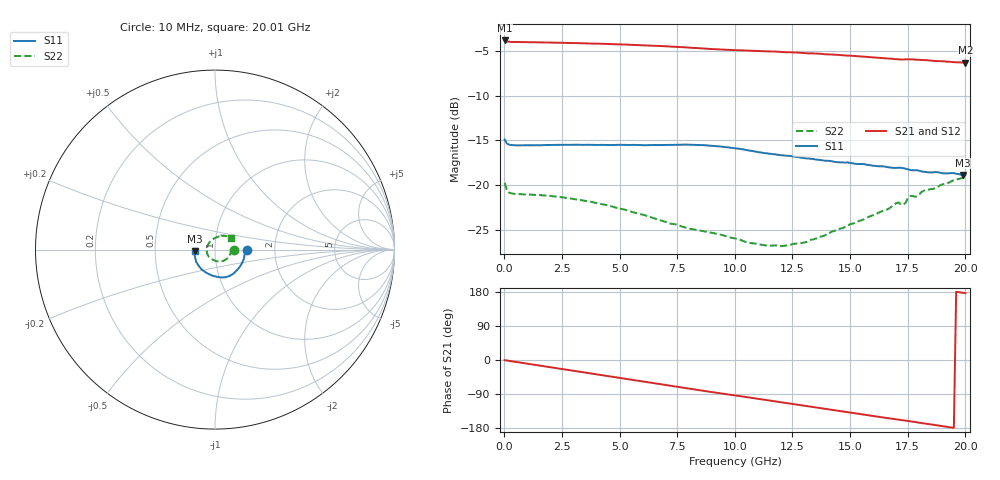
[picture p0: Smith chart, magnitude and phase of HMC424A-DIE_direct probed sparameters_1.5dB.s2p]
!s2p File: Measurements: S11, S21, S12, S22
# GHz S dB R 50.0
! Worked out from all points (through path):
!   201 points, 10 MHz to 20.01 GHz, reference 50 ohm
!   highest |S21| = -3.81 dB at 10 MHz (marker M1); lowest = -6.3 dB at 20.01 GHz (marker M2)
!   group delay of S21, straight-line fit = 25.4 ps
!   lowest |S11| = -18.9 dB at 19.91 GHz (marker M3), VSWR 1.26, Z = 39.8 - j0.647 ohm
!   |S11| at or under -10 dB: start of sweep to end of sweep
!   |S22| runs from -26.8 to -19.1 dB; largest |S21 - S12| = 0.0034
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0.01  -14.88 -1.3  -3.81 -0.4  -3.80 -0.4  -19.73 -2.0
0.11  -15.35 -2.4  -3.93 -1.5  -3.93 -1.5  -20.57 -4.9
0.31  -15.51 -2.8  -3.98 -3.3  -3.97 -3.3  -20.91 -5.7
1.91  -15.50 -11.8  -4.04 -18.4  -4.04 -18.4  -21.17 -23.5
3.41  -15.49 -21.4  -4.13 -32.6  -4.12 -32.6  -21.70 -42.0
5.01  -15.48 -32.3  -4.24 -47.7  -4.25 -47.7  -22.61 -62.2
6.71  -15.51 -44.5  -4.43 -63.6  -4.43 -63.6  -23.86 -84.4
8.31  -15.50 -57.8  -4.65 -78.4  -4.66 -78.4  -24.99 -107.9
10.01  -15.86 -74.7  -4.88 -93.4  -4.90 -93.4  -25.95 -143.3
10.61  -16.11 -80.2  -4.95 -98.7  -4.95 -98.7  -26.44 -158.5
12.01  -16.65 -92.9  -5.09 -111.4  -5.10 -111.4  -26.82 164.6
13.41  -17.07 -106.0  -5.26 -124.3  -5.29 -124.2  -26.06 130.4
15.01  -17.50 -122.3  -5.51 -138.9  -5.53 -138.7  -24.35 99.3
16.71  -18.01 -141.5  -5.84 -154.0  -5.83 -153.8  -22.59 75.3
17.01  -18.07 -144.2  -5.90 -156.5  -5.87 -156.4  -22.00 70.5
17.31  -18.09 -148.2  -5.94 -159.0  -5.92 -159.1  -22.18 67.2
17.61  -18.29 -151.5  -5.92 -161.5  -5.95 -161.8  -21.21 64.4
17.91  -18.33 -154.1  -5.96 -164.5  -6.00 -164.3  -21.24 60.0
18.31  -18.53 -159.1  -6.01 -168.2  -6.04 -167.9  -20.49 55.0
18.71  -18.53 -163.2  -6.10 -171.8  -6.10 -171.5  -20.33 50.6
19.91  -18.85 -176.0  -6.28 177.3  -6.28 177.5  -19.18 37.9
20.01  -18.85 -176.9  -6.31 176.5  -6.29 176.7  -19.07 36.6
